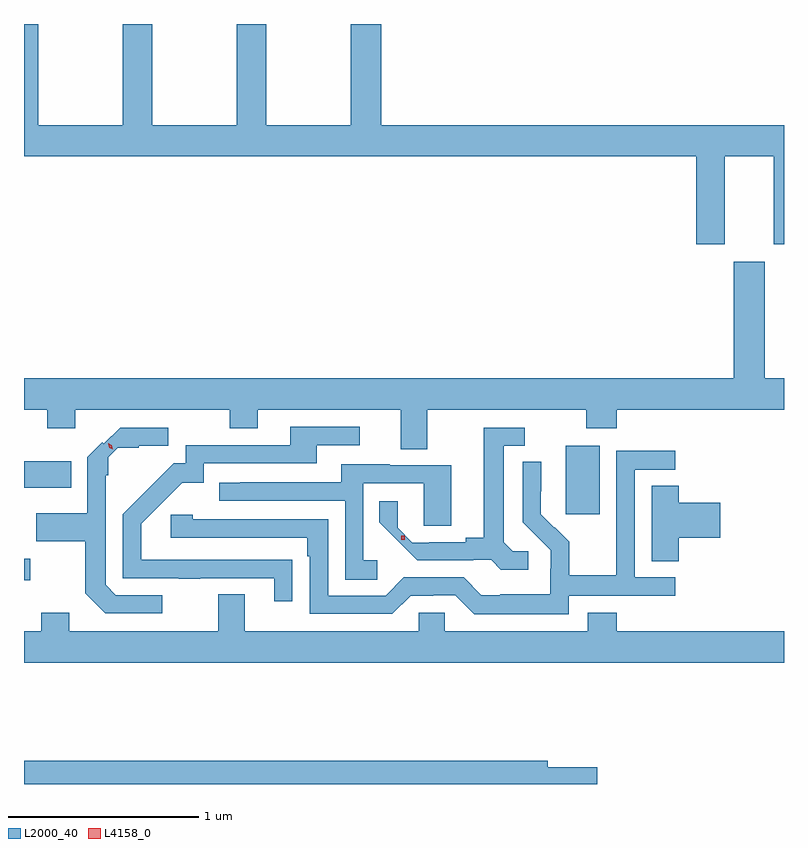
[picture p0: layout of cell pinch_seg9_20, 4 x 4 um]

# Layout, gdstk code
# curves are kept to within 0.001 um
import gdstk
lib = gdstk.Library(unit=1e-6, precision=1e-09)
def R(c, l, rs):  # rectangles x0, y0, x1, y1
    for r in rs: c.add(gdstk.rectangle(r[:2], r[2:], *l))
def P(c, l, *ps):  # polygons
    for p in ps: c.add(gdstk.Polygon(p, *l))
L2000_40 = (2000, 40)
L4158_0 = (4158, 0)

pinch_seg9_20 = lib.new_cell('pinch_seg9_20')
R(pinch_seg9_20, L2000_40, [(1143.512,1210.173,1143.544,1210.286), (1146.362,1210.521,1146.541,1210.882), (1143.512,1210.661,1143.761,1210.801)])
P(pinch_seg9_20, L2000_40, [(1147.201,1212.404),(1147.457,1212.404),(1147.457,1211.943),(1147.512,1211.943),(1147.512,1212.568),(1145.393,1212.568),(1145.393,1213.101),(1145.233,1213.101),(1145.233,1212.568),(1144.788,1212.568),(1144.788,1213.101),(1144.633,1213.101),(1144.633,1212.568),(1144.188,1212.568),(1144.188,1213.101),(1144.033,1213.101),(1144.033,1212.568),(1143.588,1212.568),(1143.588,1213.101),(1143.512,1213.101),(1143.512,1212.404),(1147.049,1212.404),(1147.049,1211.943),(1147.201,1211.943)],
  [(1145.635,1211.072),(1146.472,1211.072),(1146.472,1210.973),(1146.632,1210.973),(1146.632,1211.072),(1147.512,1211.072),(1147.512,1211.236),(1147.411,1211.236),(1147.411,1211.851),(1147.247,1211.851),(1147.247,1211.236),(1143.512,1211.236),(1143.512,1211.072),(1143.634,1211.072),(1143.634,1210.973),(1143.781,1210.973),(1143.781,1211.072),(1144.594,1211.072),(1144.594,1210.973),(1144.741,1210.973),(1144.741,1211.072),(1145.495,1211.072),(1145.495,1210.864),(1145.635,1210.864)],
  [(1144.925,1210.28),(1144.129,1210.281),(1144.129,1210.47),(1144.346,1210.687),(1144.458,1210.687),(1144.458,1210.788),(1145.053,1210.788),(1145.053,1210.884),(1145.278,1210.884),(1145.278,1210.98),(1144.913,1210.98),(1144.913,1210.884),(1144.362,1210.884),(1144.362,1210.79),(1144.299,1210.79),(1144.032,1210.521),(1144.032,1210.185),(1144.327,1210.185),(1144.327,1210.18),(1144.439,1210.18),(1144.439,1210.185),(1144.829,1210.185),(1144.829,1210.062),(1144.925,1210.062)],
  [(1146.166,1210.326),(1146.084,1210.326),(1146.037,1210.373),(1146.037,1210.881),(1146.148,1210.881),(1146.148,1210.977),(1145.933,1210.977),(1145.933,1210.397),(1145.837,1210.397),(1145.837,1210.374),(1145.644,1210.374),(1145.644,1210.371),(1145.556,1210.371),(1145.478,1210.449),(1145.478,1210.588),(1145.383,1210.588),(1145.383,1210.478),(1145.583,1210.278),(1145.876,1210.278),(1145.876,1210.281),(1145.97,1210.281),(1146.022,1210.229),(1146.166,1210.229)],
  [(1144.24,1210.095),(1143.996,1210.095),(1143.942,1210.149),(1143.942,1210.727),(1143.956,1210.727),(1143.956,1210.82),(1144.006,1210.87),(1144.116,1210.87),(1144.116,1210.881),(1144.27,1210.881),(1144.27,1210.977),(1144.019,1210.977),(1143.933,1210.891),(1143.923,1210.9),(1143.846,1210.822),(1143.846,1210.525),(1143.577,1210.525),(1143.577,1210.378),(1143.834,1210.378),(1143.834,1210.105),(1143.939,1209.999),(1144.24,1209.999)],
  [(1146.378,1210.092),(1146.94,1210.092),(1146.94,1210.188),(1146.726,1210.188),(1146.726,1210.755),(1146.94,1210.755),(1146.94,1210.854),(1146.63,1210.854),(1146.63,1210.424),(1146.628,1210.424),(1146.628,1210.201),(1146.383,1210.201),(1146.383,1210.375),(1146.306,1210.452),(1146.303,1210.449),(1146.233,1210.52),(1146.234,1210.796),(1146.138,1210.796),(1146.138,1210.478),(1146.284,1210.33),(1146.284,1210.233),(1146.282,1210.233),(1146.282,1210.099),(1146.019,1210.099),(1146.019,1210.095),(1145.919,1210.095),(1145.826,1210.188),(1145.511,1210.188),(1145.415,1210.092),(1145.112,1210.092),(1145.112,1210.494),(1144.4,1210.494),(1144.4,1210.518),(1144.285,1210.518),(1144.285,1210.398),(1145.003,1210.398),(1145.003,1210.301),(1145.016,1210.301),(1145.016,1209.996),(1145.451,1209.996),(1145.547,1210.092),(1145.666,1210.092),(1145.666,1210.095),(1145.781,1210.095),(1145.881,1209.995),(1146.378,1209.995)],
  [(1145.371,1210.278),(1145.298,1210.278),(1145.298,1210.683),(1145.615,1210.683),(1145.615,1210.459),(1145.761,1210.459),(1145.761,1210.779),(1145.437,1210.779),(1145.437,1210.783),(1145.183,1210.783),(1145.183,1210.689),(1144.651,1210.689),(1144.651,1210.687),(1144.539,1210.687),(1144.539,1210.593),(1145.202,1210.593),(1145.202,1210.177),(1145.371,1210.177)],
  [(1146.959,1210.397),(1147.177,1210.397),(1147.177,1210.58),(1146.959,1210.58),(1146.959,1210.67),(1146.815,1210.67),(1146.815,1210.273),(1146.959,1210.273)],
  [(1147.512,1209.904),(1146.632,1209.904),(1146.632,1210.003),(1146.479,1210.003),(1146.479,1209.904),(1145.727,1209.904),(1145.727,1210.002),(1145.589,1210.002),(1145.589,1209.904),(1144.675,1209.904),(1144.675,1210.099),(1144.535,1210.099),(1144.535,1209.904),(1143.751,1209.904),(1143.751,1210.003),(1143.604,1210.003),(1143.604,1209.904),(1143.512,1209.904),(1143.512,1209.74),(1147.512,1209.74)],
  [(1146.529,1209.188),(1146.268,1209.188),(1146.268,1209.224),(1143.512,1209.224),(1143.512,1209.101),(1146.529,1209.101)])
R(pinch_seg9_20, L4158_0, [(1145.497,1210.387,1145.517,1210.407)])
P(pinch_seg9_20, L4158_0, [(1143.98,1210.863),(1143.96,1210.872),(1143.955,1210.894),(1143.955,1210.894),(1143.955,1210.894),(1143.975,1210.885),(1143.98,1210.863),(1143.98,1210.863)])

lib.write_gds('pinch_seg9_20.gds')
